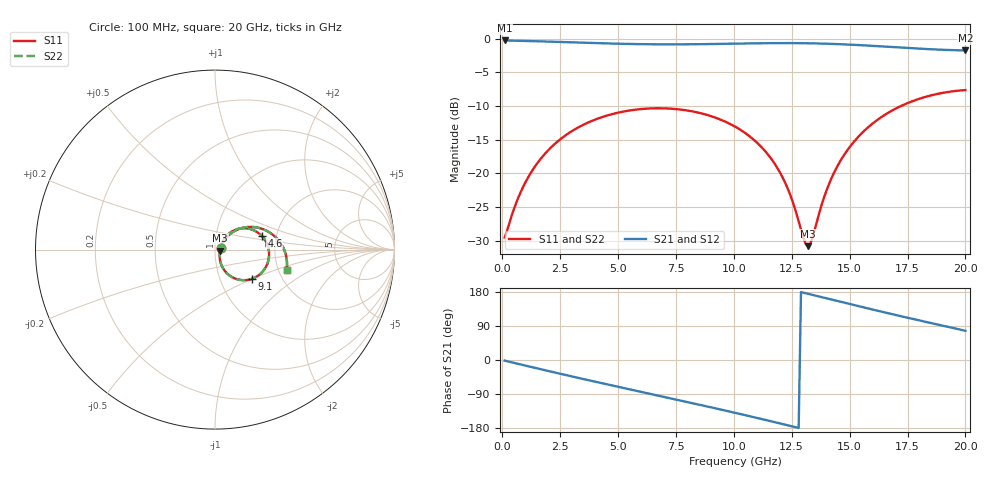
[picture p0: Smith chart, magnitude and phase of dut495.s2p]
! Touchstone file exported from HFSS 2026.1.0
!  File:  C:/ffzhzh/LocalFiles/Ansys_Project_Files/temp_train_TSV_RDL_495_1783106377_50312.aedt
!  Generated:  03:28:00 AM Jul  4, 2026
!  Design:  TSV_RDL
!  Project:  temp_train_TSV_RDL_495_1783106377_50312
! Variables:
!  h_bsmrdl = 3.36um
!  h_ox = 20um
!  h_rdl = 5um
!  h_sub = 91.11um
!  h_tmrdl = 5.95um
!  h_tsv = 91.11um
!  h_via = 3um
!  l_bsmrdl = 975.75um
!  l_sub = 3978.02um
!  l_tmrdl = 139.75um
!  m_sub = 200um
!  pitch = 25.78um
!  r_tsv = 10.37um
!  s_tmrdl = 10um
!  w_bsmrdl = 10.21um
!  w_sub = 500um
!  w_tmrdl = 20.38um
!  x_tsv_center1 = 149.94um
!  x_tsv_center2 = 1135.9um
!  x_tsv_center3 = 1296.03um
!  x_tsv_center4 = 2281.99um
!  x_tsv_center5 = 2442.12um
!  x_tsv_center6 = 3428.08um
# GHz S MA R 50.000000
! Terminal data exported
! Port[1] = TM_RDL1_1_T1
! Port[2] = TM_RDL5_1_T1
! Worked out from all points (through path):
!   200 points, 100 MHz to 20 GHz, reference 50 ohm
!   highest |S21| = -0.28 dB at 100 MHz (marker M1); lowest = -1.8 dB at 20 GHz (marker M2)
!   group delay of S21, straight-line fit = 39.3 ps
!   lowest |S11| = -30.8 dB at 13.2 GHz (marker M3), VSWR 1.06, Z = 52.9 - j0.567 ohm
!   |S11| at or under -10 dB: start of sweep to 17.23 GHz
!   |S22| runs from -30.8 to -7.7 dB; largest |S21 - S12| = 2.8e-14
!   S11 on the Smith chart (normalised r, x): 100 MHz: 1.07, +0.02; 4.6 GHz: 1.67, +0.28; 9.1 GHz: 1.42, -0.50; 20 GHz: 2.21, -0.60
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0.1  0.03331 14.0  0.9679 -1.5  0.9679 -1.5  0.03331 14.0
! Gamma 0 0 0 0
! Port Impedance 50 0 50 0
0.7  0.06638 46.3  0.9621 -10.5  0.9621 -10.5  0.06638 46.3
1.4  0.1115 49.2  0.9557 -20.6  0.9557 -20.6  0.1115 49.2
2.3  0.167 42.8  0.9458 -33.5  0.9458 -33.5  0.167 42.8
3.5  0.2291 29.8  0.9313 -50.3  0.9313 -50.3  0.2291 29.8
4.6  0.2706 16.7  0.9191 -65.3  0.9191 -65.3  0.2705 16.7
6.8  0.3036 -10.2  0.9058 -94.9  0.9058 -94.9  0.3036 -10.1
8  0.292 -24.9  0.9064 -111.0  0.9064 -111.0  0.292 -24.9
9.1  0.2624 -38.3  0.9109 -126.0  0.9109 -126.0  0.2624 -38.3
10.1  0.2196 -50.3  0.9169 -140.0  0.9169 -140.0  0.2196 -50.3
11.1  0.1624 -61.2  0.9224 -154.3  0.9224 -154.3  0.1624 -61.1
11.9  0.1079 -67.0  0.925 -166.0  0.925 -166.0  0.1079 -67.0
12.4  0.07162 -65.8  0.9251 -173.4  0.9251 -173.4  0.07165 -65.7
13  0.03325 -38.2  0.9235 177.7  0.9235 177.7  0.03334 -38.1
13.2  0.02873 -10.7  0.9224 174.7  0.9224 174.7  0.02884 -10.7
13.4  0.03339 16.9  0.9211 171.7  0.9211 171.7  0.03349 16.9
14  0.0743 45.0  0.9156 162.7  0.9156 162.7  0.07435 45.0
14.6  0.1233 45.8  0.9078 153.7  0.9078 153.7  0.1234 45.8
15.5  0.1963 38.2  0.8925 140.4  0.8925 140.4  0.1963 38.2
16.7  0.2834 24.4  0.868 122.9  0.868 122.9  0.2834 24.4
18.3  0.3698 4.8  0.8362 100.4  0.8362 100.4  0.3699 4.9
20  0.4143 -15.8  0.8155 77.2  0.8155 77.2  0.4143 -15.7
